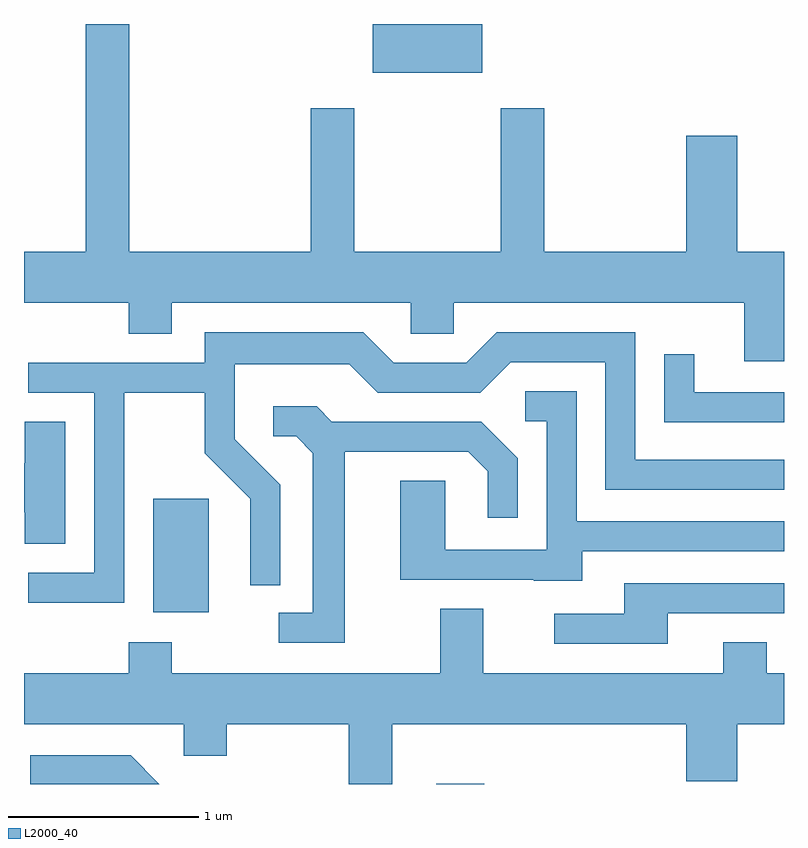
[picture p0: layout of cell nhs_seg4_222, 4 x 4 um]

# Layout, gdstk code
import gdstk
lib = gdstk.Library(unit=1e-6, precision=1e-09)
def R(c, l, rs):  # rectangles x0, y0, x1, y1
    for r in rs: c.add(gdstk.rectangle(r[:2], r[2:], *l))
def P(c, l, *ps):  # polygons
    for p in ps: c.add(gdstk.Polygon(p, *l))
L2000_40 = (2000, 40)

nhs_seg4_222 = lib.new_cell('nhs_seg4_222')
R(nhs_seg4_222, L2000_40, [(193.781,1289.982,194.034,1289.984), (192.291,1290.886,192.584,1291.484), (193.446,1293.726,194.024,1293.982)])
P(nhs_seg4_222, L2000_40, [(195.611,1292.784),(195.364,1292.784),(195.364,1293.394),(195.096,1293.394),(195.096,1292.784),(194.349,1292.784),(194.349,1293.539),(194.121,1293.539),(194.121,1292.784),(193.349,1292.784),(193.349,1293.539),(193.121,1293.539),(193.121,1292.784),(192.164,1292.784),(192.164,1293.982),(191.936,1293.982),(191.936,1292.784),(191.611,1292.784),(191.611,1292.516),(192.161,1292.516),(192.161,1292.351),(192.389,1292.351),(192.389,1292.516),(193.646,1292.516),(193.646,1292.351),(193.874,1292.351),(193.874,1292.516),(195.401,1292.516),(195.401,1292.206),(195.611,1292.206)],
  [(192.139,1292.041),(192.561,1292.041),(192.561,1291.724),(192.801,1291.484),(192.801,1291.028),(192.959,1291.028),(192.959,1291.557),(192.719,1291.797),(192.719,1292.191),(193.324,1292.191),(193.474,1292.041),(194.012,1292.041),(194.172,1292.201),(194.671,1292.201),(194.671,1291.531),(195.611,1291.531),(195.611,1291.689),(194.829,1291.689),(194.829,1292.359),(194.099,1292.359),(193.939,1292.199),(193.557,1292.199),(193.397,1292.359),(192.561,1292.359),(192.561,1292.199),(191.633,1292.199),(191.633,1292.041),(191.981,1292.041),(191.981,1291.094),(191.633,1291.094),(191.633,1290.936),(192.139,1290.936)],
  [(195.611,1292.044),(195.139,1292.044),(195.139,1292.243),(194.981,1292.243),(194.981,1291.886),(195.611,1291.886)],
  [(194.549,1291.206),(195.611,1291.206),(195.611,1291.364),(194.519,1291.364),(194.519,1292.049),(194.248,1292.049),(194.248,1291.891),(194.361,1291.891),(194.361,1291.214),(193.829,1291.214),(193.829,1291.579),(193.591,1291.579),(193.591,1291.056),(194.295,1291.056),(194.295,1291.051),(194.549,1291.051)],
  [(193.299,1291.731),(193.949,1291.731),(194.051,1291.629),(194.051,1291.383),(194.209,1291.383),(194.209,1291.697),(194.017,1291.889),(193.232,1291.889),(193.152,1291.969),(192.923,1291.969),(192.923,1291.811),(193.044,1291.811),(193.131,1291.724),(193.131,1290.884),(192.953,1290.884),(192.953,1290.726),(193.299,1290.726)],
  [(191.829,1291.889),(191.616,1291.889),(191.616,1291.669),(191.611,1291.669),(191.611,1291.411),(191.616,1291.411),(191.616,1291.246),(191.829,1291.246)],
  [(194.999,1290.881),(195.611,1290.881),(195.611,1291.039),(194.771,1291.039),(194.771,1290.879),(194.403,1290.879),(194.403,1290.721),(194.999,1290.721)],
  [(193.549,1290.296),(195.096,1290.296),(195.096,1289.996),(195.364,1289.996),(195.364,1290.296),(195.611,1290.296),(195.611,1290.564),(195.519,1290.564),(195.519,1290.729),(195.291,1290.729),(195.291,1290.564),(194.029,1290.564),(194.029,1290.904),(193.801,1290.904),(193.801,1290.564),(192.389,1290.564),(192.389,1290.729),(192.161,1290.729),(192.161,1290.564),(191.611,1290.564),(191.611,1290.296),(192.451,1290.296),(192.451,1290.131),(192.679,1290.131),(192.679,1290.296),(193.321,1290.296),(193.321,1289.982),(193.549,1289.982)],
  [(192.172,1290.134),(191.643,1290.134),(191.643,1289.982),(192.324,1289.982)])

lib.write_gds('nhs_seg4_222.gds')
